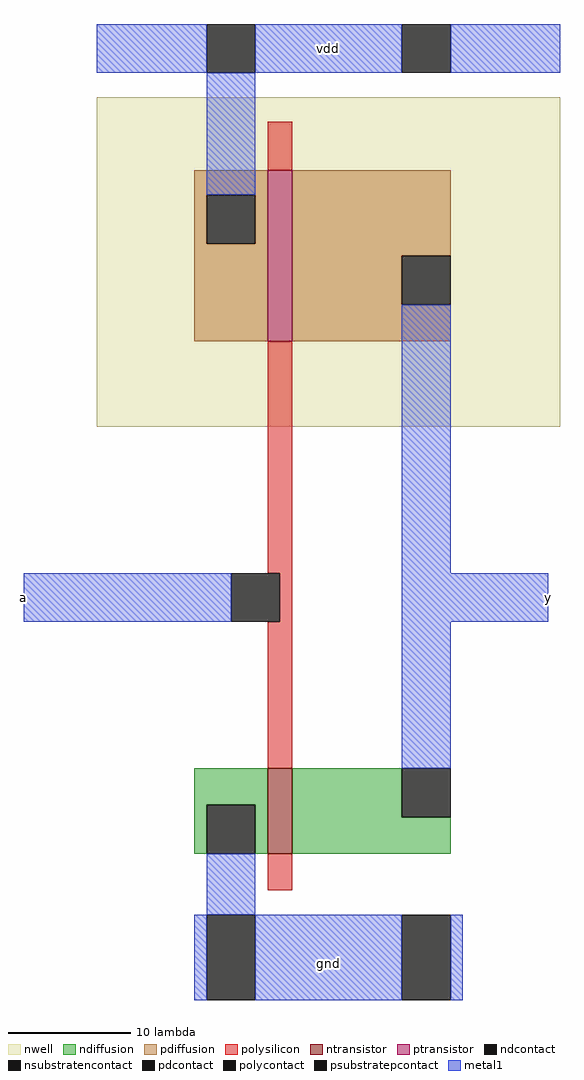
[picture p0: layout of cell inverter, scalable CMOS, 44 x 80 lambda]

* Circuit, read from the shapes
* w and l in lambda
.subckt inverter a gnd vdd y
M1 y a gnd gnd nfet w=7 l=2
M2 y a vdd n1 pfet w=14 l=2
.ends

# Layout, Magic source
magic
tech scmos
<< nwell >>
rect -25 10 13 37
<< ntransistor >>
rect -11 -25 -9 -18
<< ptransistor >>
rect -11 17 -9 31
<< ndiffusion >>
rect -17 -21 -11 -18
rect -17 -25 -16 -21
rect -12 -25 -11 -21
rect -9 -22 0 -18
rect -9 -25 4 -22
<< pdiffusion >>
rect -17 29 -11 31
rect -17 25 -16 29
rect -12 25 -11 29
rect -17 17 -11 25
rect -9 24 4 31
rect -9 20 0 24
rect -9 17 4 20
<< ndcontact >>
rect -16 -25 -12 -21
rect 0 -22 4 -18
<< pdcontact >>
rect -16 25 -12 29
rect 0 20 4 24
<< psubstratepcontact >>
rect -16 -37 -12 -30
rect 0 -37 4 -30
<< nsubstratencontact >>
rect -16 39 -12 43
rect 0 39 4 43
<< polysilicon >>
rect -11 31 -9 35
rect -11 -2 -9 17
rect -10 -6 -9 -2
rect -11 -18 -9 -6
rect -11 -28 -9 -25
<< polycontact >>
rect -14 -6 -10 -2
<< metal1 >>
rect -25 39 -16 43
rect -12 39 0 43
rect 4 39 13 43
rect -16 29 -12 39
rect 0 -2 4 20
rect -31 -6 -14 -2
rect 0 -6 12 -2
rect 0 -18 4 -6
rect -16 -30 -12 -25
rect -17 -37 -16 -30
rect -12 -37 0 -30
rect 4 -37 5 -30
<< labels >>
rlabel metal1 -6 -34 -6 -34 1 gnd
rlabel metal1 -6 41 -6 41 5 vdd
rlabel metal1 -31 -6 -31 -2 3 a
rlabel metal1 12 -6 12 -2 7 y
<< end >>
